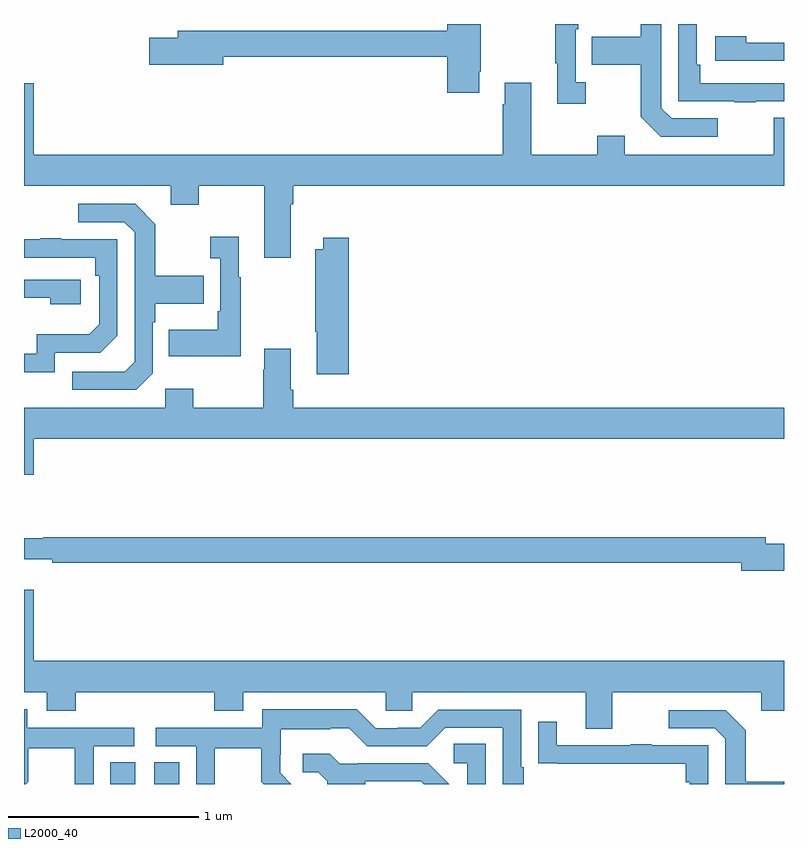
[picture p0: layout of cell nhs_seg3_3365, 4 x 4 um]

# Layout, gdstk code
import gdstk
lib = gdstk.Library(unit=1e-6, precision=1e-09)
def R(c, l, rs):  # rectangles x0, y0, x1, y1
    for r in rs: c.add(gdstk.rectangle(r[:2], r[2:], *l))
def P(c, l, *ps):  # polygons
    for p in ps: c.add(gdstk.Polygon(p, *l))
L2000_40 = (2000, 40)

nhs_seg3_3365 = lib.new_cell('nhs_seg3_3365')
R(nhs_seg3_3365, L2000_40, [(285.455,732.4,285.586,732.515), (285.686,732.4,285.817,732.515)])
P(nhs_seg3_3365, L2000_40, [(287.395,736.15),(287.403,736.15),(287.403,736.4),(287.228,736.4),(287.228,736.364),(285.809,736.364),(285.809,736.328),(285.66,736.328),(285.66,736.186),(286.048,736.186),(286.048,736.228),(287.228,736.228),(287.228,736.038),(287.395,736.038)],
  [(287.956,736.094),(287.904,736.094),(287.904,736.373),(287.917,736.373),(287.917,736.4),(287.796,736.4),(287.796,736.193),(287.807,736.193),(287.807,735.981),(287.956,735.981)],
  [(288.652,735.903),(288.408,735.903),(288.354,735.957),(288.354,736.4),(288.246,736.4),(288.246,736.333),(287.989,736.333),(287.989,736.186),(288.246,736.186),(288.246,735.913),(288.351,735.807),(288.652,735.807)],
  [(288.851,735.993),(289,735.993),(289,736.089),(288.56,736.089),(288.56,736.186),(288.54,736.186),(288.54,736.4),(288.444,736.4),(288.444,735.993),(288.739,735.993),(288.739,735.988),(288.851,735.988)],
  [(289,736.302),(288.8,736.302),(288.8,736.336),(288.639,736.336),(288.639,736.206),(289,736.206)],
  [(286.405,735.452),(286.418,735.452),(286.418,735.548),(289,735.548),(289,735.907),(288.947,735.907),(288.947,735.712),(288.163,735.712),(288.163,735.811),(288.016,735.811),(288.016,735.712),(287.671,735.712),(287.671,736.09),(287.531,736.09),(287.531,735.977),(287.519,735.977),(287.519,735.712),(285.052,735.712),(285.052,736.087),(285,736.087),(285,735.548),(285.773,735.548),(285.773,735.449),(285.921,735.449),(285.921,735.548),(286.265,735.548),(286.265,735.171),(286.405,735.171)],
  [(285.678,734.562),(285.678,734.831),(285.691,734.831),(285.691,734.927),(285.947,734.927),(285.947,735.075),(285.691,735.075),(285.691,735.347),(285.585,735.453),(285.285,735.453),(285.285,735.357),(285.528,735.357),(285.582,735.303),(285.582,734.622),(285.531,734.571),(285.255,734.571),(285.255,734.475),(285.591,734.475)],
  [(286.141,735.067),(286.129,735.067),(286.129,735.28),(285.981,735.28),(285.981,735.167),(286.032,735.167),(286.032,734.887),(286.02,734.887),(286.02,734.791),(285.763,734.791),(285.763,734.651),(286.141,734.651)],
  [(286.709,735.274),(286.574,735.274),(286.574,735.214),(286.534,735.214),(286.534,734.779),(286.541,734.779),(286.541,734.556),(286.709,734.556)],
  [(285.162,734.67),(285.402,734.67),(285.492,734.76),(285.492,735.267),(285.197,735.267),(285.197,735.272),(285.085,735.272),(285.085,735.267),(285,735.267),(285,735.171),(285.376,735.171),(285.376,735.074),(285.396,735.074),(285.396,734.82),(285.343,734.767),(285.066,734.767),(285.066,734.664),(285,734.664),(285,734.568),(285.162,734.568)],
  [(285.298,735.054),(285,735.054),(285,734.958),(285.137,734.958),(285.137,734.924),(285.298,734.924)],
  [(285.052,734.216),(289,734.216),(289,734.38),(286.418,734.38),(286.418,734.476),(286.405,734.476),(286.405,734.692),(286.265,734.692),(286.265,734.579),(286.258,734.579),(286.258,734.38),(285.891,734.38),(285.891,734.479),(285.744,734.479),(285.744,734.38),(285,734.38),(285,734.028),(285.052,734.028)],
  [(289,733.664),(288.904,733.664),(288.904,733.7),(285.1,733.7),(285.1,733.693),(285,733.693),(285,733.583),(285.148,733.583),(285.148,733.564),(288.776,733.564),(288.776,733.522),(289,733.522)],
  [(288.097,732.884),(288.881,732.884),(288.881,732.785),(289,732.785),(289,733.048),(285.052,733.048),(285.052,733.423),(285,733.423),(285,732.884),(285.119,732.884),(285.119,732.785),(285.272,732.785),(285.272,732.884),(286.001,732.884),(286.001,732.785),(286.153,732.785),(286.153,732.884),(286.905,732.884),(286.905,732.786),(287.043,732.786),(287.043,732.884),(287.957,732.884),(287.957,732.69),(288.097,732.69)],
  [(285.023,732.413),(285.023,732.588),(285.268,732.588),(285.268,732.4),(285.366,732.4),(285.366,732.6),(285.58,732.6),(285.58,732.696),(285.018,732.696),(285.018,732.793),(285,732.793),(285,732.4),(285.01,732.4)],
  [(286.005,732.588),(286.249,732.588),(286.249,732.413),(286.262,732.4),(286.406,732.4),(286.348,732.458),(286.348,732.555),(286.35,732.555),(286.35,732.689),(286.613,732.689),(286.613,732.693),(286.713,732.693),(286.806,732.6),(287.121,732.6),(287.217,732.696),(287.52,732.696),(287.52,732.4),(287.629,732.4),(287.629,732.487),(287.616,732.487),(287.616,732.792),(287.181,732.792),(287.085,732.696),(286.967,732.696),(286.967,732.693),(286.851,732.693),(286.751,732.793),(286.254,732.793),(286.254,732.696),(285.693,732.696),(285.693,732.6),(285.906,732.6),(285.906,732.4),(286.005,732.4)],
  [(289,732.411),(288.799,732.411),(288.799,732.683),(288.693,732.789),(288.393,732.789),(288.393,732.693),(288.636,732.693),(288.69,732.639),(288.69,732.4),(289,732.4)],
  [(288.6,732.603),(288.305,732.603),(288.305,732.608),(288.193,732.608),(288.193,732.603),(287.803,732.603),(287.803,732.727),(287.707,732.727),(287.707,732.508),(287.809,732.508),(287.809,732.507),(288.484,732.507),(288.484,732.41),(288.504,732.41),(288.504,732.4),(288.6,732.4)],
  [(287.43,732.611),(287.262,732.611),(287.262,732.51),(287.334,732.51),(287.334,732.4),(287.43,732.4)],
  [(286.795,732.414),(287.09,732.414),(287.104,732.4),(287.238,732.4),(287.128,732.51),(286.756,732.51),(286.756,732.507),(286.662,732.507),(286.61,732.559),(286.467,732.559),(286.467,732.462),(286.548,732.462),(286.595,732.415),(286.595,732.4),(286.795,732.4)])

lib.write_gds('nhs_seg3_3365.gds')
